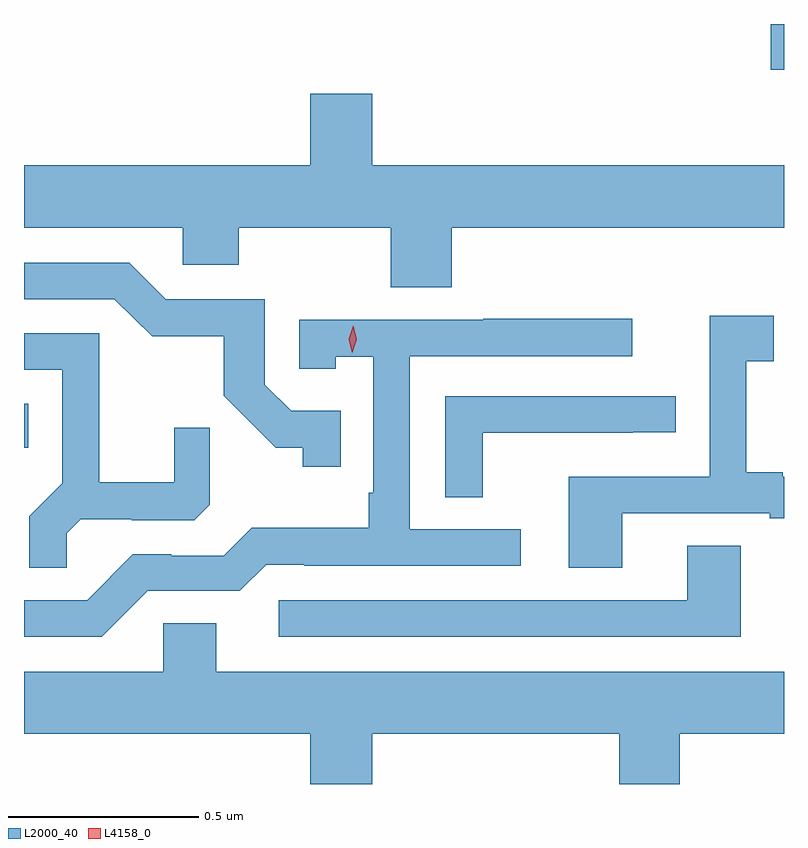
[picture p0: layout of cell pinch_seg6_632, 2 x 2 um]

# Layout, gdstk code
import gdstk
lib = gdstk.Library(unit=1e-6, precision=1e-09)
def R(c, l, rs):  # rectangles x0, y0, x1, y1
    for r in rs: c.add(gdstk.rectangle(r[:2], r[2:], *l))
def P(c, l, *ps):  # polygons
    for p in ps: c.add(gdstk.Polygon(p, *l))
L2000_40 = (2000, 40)
L4158_0 = (4158, 0)

pinch_seg6_632 = lib.new_cell('pinch_seg6_632')
R(pinch_seg6_632, L2000_40, [(439.979,962.741,439.99,962.857), (441.944,963.735,441.979,963.856)])
P(pinch_seg6_632, L2000_40, [(441.104,963.32),(441.979,963.32),(441.979,963.484),(440.896,963.484),(440.896,963.673),(440.732,963.673),(440.732,963.484),(439.979,963.484),(439.979,963.32),(440.397,963.32),(440.397,963.222),(440.544,963.222),(440.544,963.32),(440.944,963.32),(440.944,963.163),(441.104,963.163)],
  [(440.813,962.838),(440.682,962.838),(440.613,962.907),(440.613,963.132),(440.352,963.132),(440.256,963.228),(439.979,963.228),(439.979,963.132),(440.217,963.132),(440.316,963.034),(440.505,963.034),(440.505,962.878),(440.642,962.741),(440.712,962.741),(440.712,962.691),(440.813,962.691)],
  [(441.553,962.568),(441.941,962.568),(441.941,962.556),(441.979,962.556),(441.979,962.664),(441.976,962.664),(441.976,962.677),(441.88,962.677),(441.88,962.968),(441.952,962.968),(441.952,963.088),(441.783,963.088),(441.783,962.664),(441.413,962.664),(441.413,962.425),(441.553,962.425)],
  [(440.304,962.364),(440.547,962.364),(440.616,962.433),(440.716,962.433),(440.716,962.43),(441.286,962.43),(441.286,962.526),(440.994,962.526),(440.994,962.982),(441.58,962.982),(441.58,963.081),(441.187,963.081),(441.187,963.078),(440.703,963.078),(440.703,962.949),(440.799,962.949),(440.799,962.981),(440.898,962.981),(440.898,962.623),(440.886,962.623),(440.886,962.53),(440.578,962.53),(440.505,962.457),(440.366,962.457),(440.366,962.46),(440.265,962.46),(440.145,962.34),(439.979,962.34),(439.979,962.244),(440.184,962.244)],
  [(440.091,962.516),(440.128,962.553),(440.262,962.553),(440.262,962.55),(440.427,962.55),(440.468,962.591),(440.468,962.793),(440.374,962.793),(440.374,962.65),(440.177,962.65),(440.177,963.042),(439.98,963.042),(439.98,962.946),(440.079,962.946),(440.079,962.647),(439.993,962.561),(439.993,962.425),(440.091,962.425)],
  [(441.186,962.781),(441.581,962.781),(441.581,962.782),(441.694,962.782),(441.694,962.877),(441.087,962.877),(441.087,962.611),(441.186,962.611)],
  [(441.865,962.483),(441.725,962.483),(441.725,962.34),(440.649,962.34),(440.649,962.244),(441.865,962.244)],
  [(440.896,961.988),(441.545,961.988),(441.545,961.856),(441.705,961.856),(441.705,961.988),(441.979,961.988),(441.979,962.152),(440.485,962.152),(440.485,962.279),(440.346,962.279),(440.346,962.152),(439.979,962.152),(439.979,961.988),(440.732,961.988),(440.732,961.856),(440.896,961.856)])
P(pinch_seg6_632, L4158_0, [(440.843,962.991),(440.843,962.991),(440.834,963.027),(440.845,963.062),(440.846,963.062),(440.846,963.062),(440.854,963.026),(440.843,962.991)])

lib.write_gds('pinch_seg6_632.gds')
